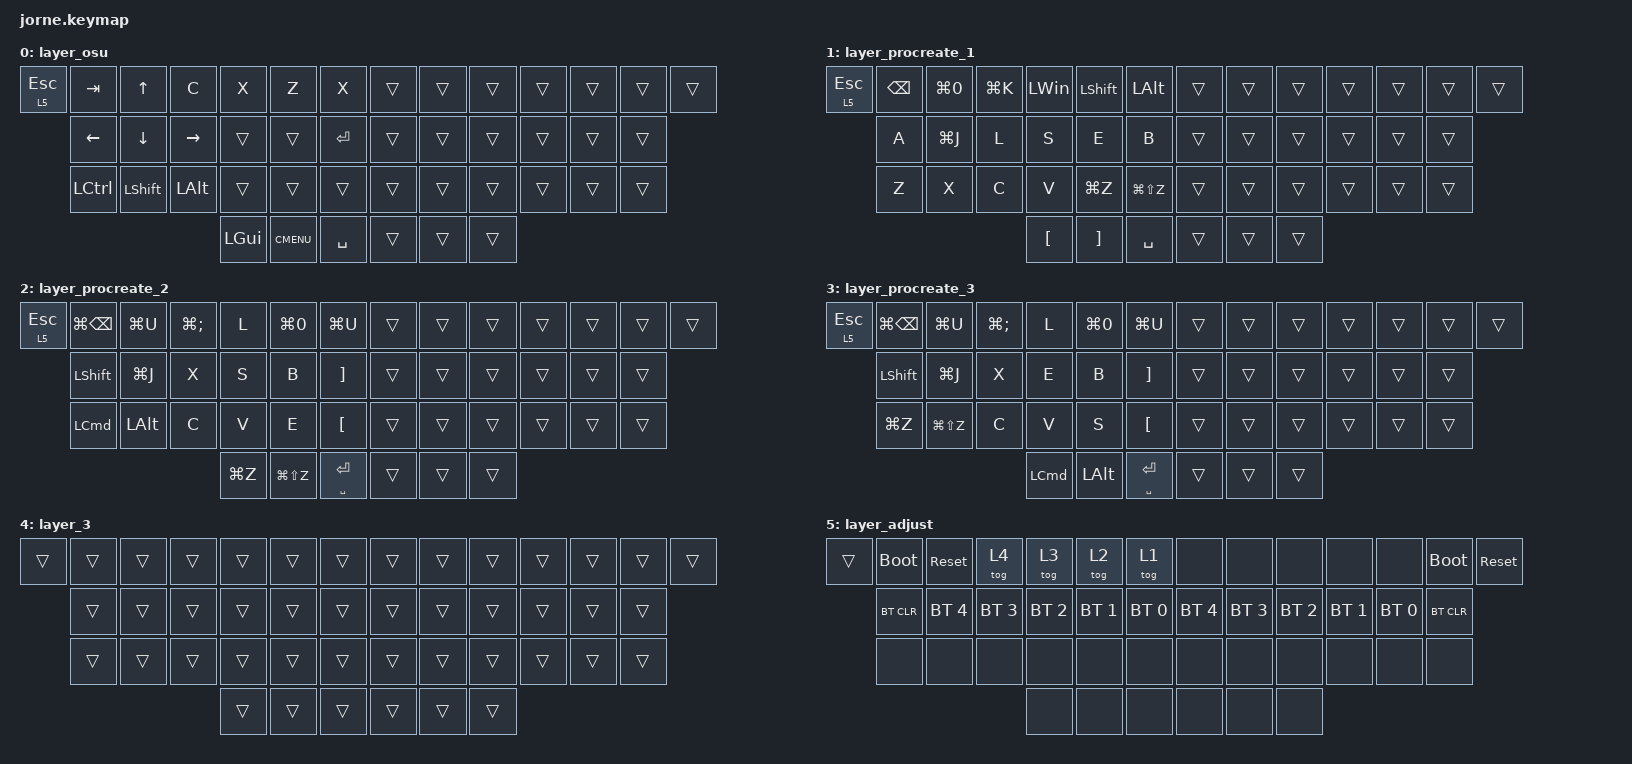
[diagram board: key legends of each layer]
/*
 * Copyright (c) 2020 The ZMK Contributors
 *
 * SPDX-License-Identifier: MIT
 */
/* THIS FILE WAS GENERATED!
 *
 * This file was generated automatically. You may or may not want to
 * edit it directly.
 */

#include <behaviors.dtsi>
#include <dt-bindings/zmk/bt.h>
#include <dt-bindings/zmk/keys.h>

/ {
    keymap {
        compatible = "zmk,keymap";

        layer_osu {
            bindings = <
&lt 5 ESC  &kp TAB    &kp UP      &kp C      &kp X     &kp Z        &kp X      &trans  &trans  &trans  &trans  &trans  &trans  &trans
           &kp LEFT   &kp DOWN    &kp RIGHT  &trans    &trans       &kp RET    &trans  &trans  &trans  &trans  &trans  &trans
           &kp LCTRL  &kp LSHIFT  &kp LALT   &trans    &trans       &trans     &trans  &trans  &trans  &trans  &trans  &trans
                                             &kp LGUI  &kp K_CMENU  &kp SPACE  &trans  &trans  &trans
            >;
        };

        layer_procreate_1 {
            bindings = <
&lt 5 ESC  &kp BACKSPACE  &kp LG(NUMBER_0)  &kp LG(K)  &kp LEFT_WIN      &kp LEFT_SHIFT     &kp LEFT_ALT   &trans  &trans  &trans  &trans  &trans  &trans  &trans
           &kp A          &kp LG(J)         &kp L      &kp S             &kp E              &kp B          &trans  &trans  &trans  &trans  &trans  &trans
           &kp Z          &kp X             &kp C      &kp V             &kp LG(Z)          &kp LG(LS(Z))  &trans  &trans  &trans  &trans  &trans  &trans
                                                       &kp LEFT_BRACKET  &kp RIGHT_BRACKET  &kp SPACE      &trans  &trans  &trans
            >;
        };

        layer_procreate_2 {
            bindings = <
&lt 5 ESC  &kp LG(BACKSPACE)  &kp LG(U)     &kp LG(SEMICOLON)  &kp L      &kp LG(NUMBER_0)  &kp LG(U)          &trans  &trans  &trans  &trans  &trans  &trans  &trans
           &kp LSHIFT         &kp LG(J)     &kp X              &kp S      &kp B             &kp RIGHT_BRACKET  &trans  &trans  &trans  &trans  &trans  &trans
           &kp LEFT_COMMAND   &kp LEFT_ALT  &kp C              &kp V      &kp E             &kp LEFT_BRACKET   &trans  &trans  &trans  &trans  &trans  &trans
                                                               &kp LG(Z)  &kp LG(LS(Z))     &mt SPACE RETURN   &trans  &trans  &trans
            >;
        };

        layer_procreate_3 {
            bindings = <
&lt 5 ESC  &kp LG(BACKSPACE)  &kp LG(U)      &kp LG(SEMICOLON)  &kp L             &kp LG(NUMBER_0)  &kp LG(U)          &trans  &trans  &trans  &trans  &trans  &trans  &trans
           &kp LSHIFT         &kp LG(J)      &kp X              &kp E             &kp B             &kp RIGHT_BRACKET  &trans  &trans  &trans  &trans  &trans  &trans
           &kp LG(Z)          &kp LG(LS(Z))  &kp C              &kp V             &kp S             &kp LEFT_BRACKET   &trans  &trans  &trans  &trans  &trans  &trans
                                                                &kp LEFT_COMMAND  &kp LEFT_ALT      &mt SPACE RETURN   &trans  &trans  &trans
            >;
        };

        layer_3 {
            bindings = <
&trans  &trans  &trans  &trans  &trans  &trans  &trans  &trans  &trans  &trans  &trans  &trans  &trans  &trans
        &trans  &trans  &trans  &trans  &trans  &trans  &trans  &trans  &trans  &trans  &trans  &trans
        &trans  &trans  &trans  &trans  &trans  &trans  &trans  &trans  &trans  &trans  &trans  &trans
                                &trans  &trans  &trans  &trans  &trans  &trans
            >;
        };

        layer_adjust {
            bindings = <
&trans  &bootloader  &sys_reset    &tog 4        &tog 3        &tog 2        &tog 1        &none         &none         &none         &none         &none         &bootloader  &sys_reset
        &bt BT_CLR   &bt BT_SEL 4  &bt BT_SEL 3  &bt BT_SEL 2  &bt BT_SEL 1  &bt BT_SEL 0  &bt BT_SEL 4  &bt BT_SEL 3  &bt BT_SEL 2  &bt BT_SEL 1  &bt BT_SEL 0  &bt BT_CLR
        &none        &none         &none         &none         &none         &none         &none         &none         &none         &none         &none         &none
                                                 &none         &none         &none         &none         &none         &none
            >;
        };
    };
};
